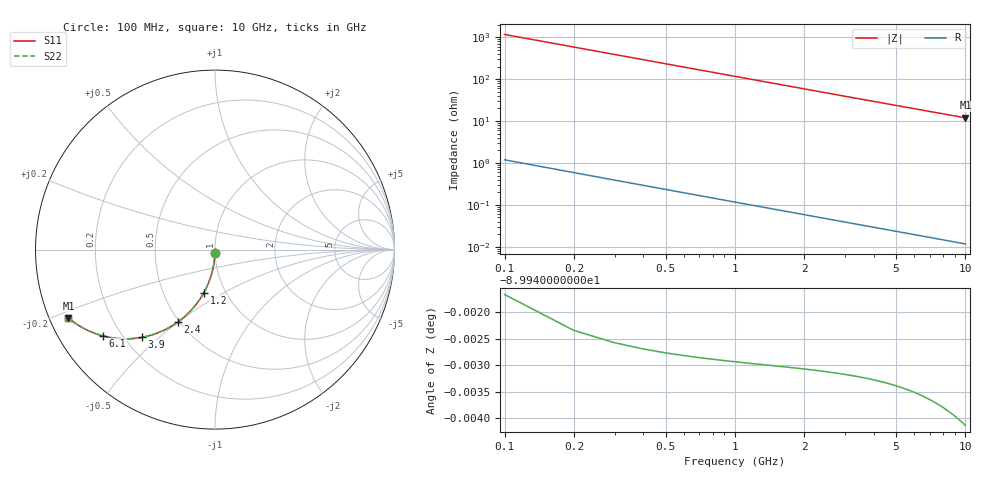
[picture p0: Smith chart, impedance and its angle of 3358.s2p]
# Hz S RI R 50.00
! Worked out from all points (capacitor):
!   100 points, 100 MHz to 10 GHz, reference 50 ohm
!   read as one part in shunt: C = 1.36 pF near 100 MHz
!   lowest |Z| = 12 ohm at 10 GHz (marker M1)
!   S11 on the Smith chart (normalised r, x): 100 MHz: 1.00, -0.04; 1.2 GHz: 0.79, -0.40; 2.4 GHz: 0.49, -0.50; 3.9 GHz: 0.27, -0.44; 6.1 GHz: 0.13, -0.33; 10 GHz: 0.05, -0.22
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1e8  -0.000471 -0.0214  0.9995 -0.0215  0.9995 -0.0215  -0.000471 -0.0214
2e8  -0.00187 -0.0427  0.9981 -0.0429  0.9981 -0.0429  -0.00187 -0.0427
3e8  -0.00416 -0.0638  0.9958 -0.0641  0.9958 -0.0641  -0.00416 -0.0638
4e8  -0.00736 -0.0848  0.9926 -0.0852  0.9926 -0.0852  -0.00736 -0.0848
5e8  -0.0114 -0.1056  0.9886 -0.1061  0.9886 -0.1061  -0.0114 -0.1056
6e8  -0.0163 -0.126  0.9836 -0.1266  0.9836 -0.1266  -0.0163 -0.126
7e8  -0.0221 -0.1461  0.9779 -0.1468  0.9779 -0.1468  -0.0221 -0.1461
9e8  -0.0359 -0.1852  0.9641 -0.1861  0.9641 -0.1861  -0.0359 -0.1852
1.2e9  -0.062 -0.24  0.938 -0.2413  0.938 -0.2413  -0.062 -0.24
1.5e9  -0.0934 -0.2898  0.9066 -0.2913  0.9066 -0.2913  -0.0934 -0.2898
1.8e9  -0.129 -0.3338  0.871 -0.3356  0.871 -0.3356  -0.129 -0.3338
2.1e9  -0.1675 -0.3719  0.8324 -0.374  0.8324 -0.374  -0.1675 -0.3719
2.4e9  -0.2079 -0.4041  0.7921 -0.4065  0.7921 -0.4065  -0.2079 -0.4041
2.9e9  -0.2765 -0.4453  0.7235 -0.4483  0.7235 -0.4483  -0.2765 -0.4453
3.4e9  -0.3439 -0.4728  0.6561 -0.4762  0.6561 -0.4762  -0.3439 -0.4728
3.9e9  -0.4076 -0.4889  0.5924 -0.4929  0.5924 -0.4929  -0.4076 -0.4889
5.1e9  -0.5394 -0.4953  0.4606 -0.5006  0.4606 -0.5006  -0.5394 -0.4953
6.1e9  -0.6255 -0.4803  0.3745 -0.4867  0.3745 -0.4867  -0.6255 -0.4803
6.7e9  -0.6679 -0.4669  0.332 -0.474  0.332 -0.474  -0.6679 -0.4669
7.5e9  -0.7156 -0.4467  0.2844 -0.4546  0.2844 -0.4546  -0.7156 -0.4467
8.4e9  -0.7591 -0.4227  0.2409 -0.4316  0.2409 -0.4316  -0.7591 -0.4227
1e10  -0.8167 -0.381  0.1832 -0.3917  0.1832 -0.3917  -0.8167 -0.381
